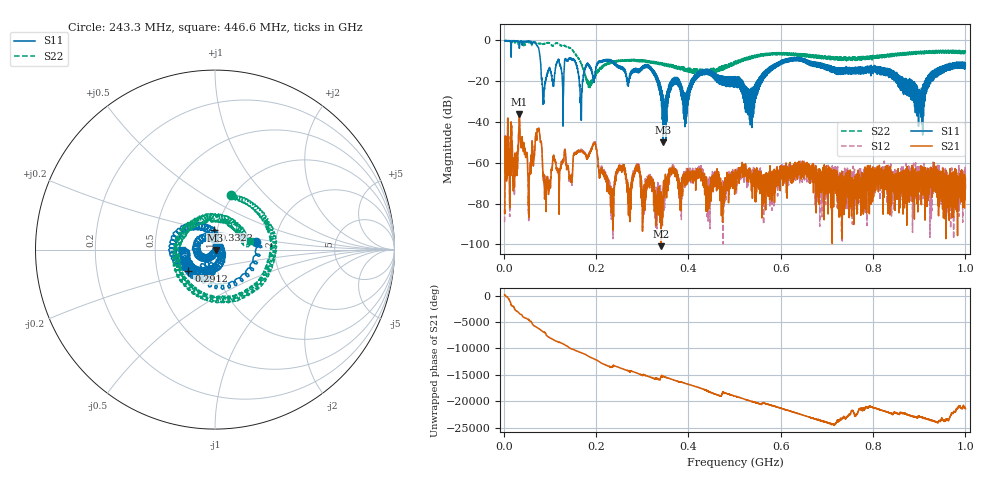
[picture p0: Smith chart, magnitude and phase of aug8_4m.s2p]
!Keysight Technologies N9923A: A.12.45
!Date: Friday, 08 August 2025 17:26:36
!Timezone: (UTC+08:00) Kuala Lumpur, Singapore
!Model: N9923A
!Serial: MY61181427
!GPS Latitude:
!GPS Longitude:
!GPS TimeStamp: 0001-01-01 00:00:00Z
!GPS Seconds Since Last Read: 0
!CHECKSUM:0273301789
!Correction: S11(ON U)S21(ON U)S12(ON U)S22(ON U)
!S2P File: Measurements:S11,S21,S12,S22:
# Hz S DB R 50
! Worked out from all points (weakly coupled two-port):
!   4001 points, 2 MHz to 1 GHz, reference 50 ohm
!   highest |S21| = -35.96 dB at 33.94 MHz (marker M1); lowest = -100.8 dB at 340.6 MHz (marker M2)
!   lowest |S11| = -49.9 dB at 345.3 MHz (marker M3), VSWR 1.01, Z = 50.3 - j0.147 ohm
!   |S11| at or under -10 dB: 153.9 MHz to 207.6 MHz (53.73 MHz wide, 29.7 % of centre); 234.5 MHz to 599.5 MHz (365.1 MHz wide, 87.5 % of centre); 662.2 MHz to end of sweep (the widest 3 of 55)
!   |S22| runs from -23.4 to 0.0 dB; largest |S21 - S12| = 0.0012
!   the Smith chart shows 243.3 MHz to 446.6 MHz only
!   S11 on the Smith chart (normalised r, x): 243.3 MHz: 1.59, +0.14; 291.2 MHz: 0.72, -0.18; 332.3 MHz: 0.96, +0.22; 446.6 MHz: 0.69, -0.00
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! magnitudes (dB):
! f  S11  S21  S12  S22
! 2 MHz  -0.1  -83.3  -89.1  0.0
! 33.94 MHz  -3.8  -36.0  -36.2  -1.0
! 55.64 MHz  -0.4  -65.5  -65.6  -1.4
! 76.85 MHz  -4.9  -43.9  -43.6  -1.5
! 93.57 MHz  -17.6  -70.5  -68.1  -1.3
! 148.5 MHz  -8.9  -65.6  -67.9  -4.7
! 168.4 MHz  -35.2  -54.2  -53.8  -11.5
! 197.6 MHz  -17.4  -50.5  -49.8  -16.3
! 233.8 MHz  -10.2  -75.8  -84.9  -11.1
! 243.3 MHz  -12.6  -66.7  -67.0  -10.0
! 291.2 MHz  -14.4  -60.6  -61.1  -10.3
! 332.3 MHz  -19.1  -79.1  -78.8  -10.5
! 334.8 MHz  -19.6  -73.3  -72.6  -11.7
! 340.6 MHz  -26.8  -100.8  -76.3  -10.9
! 345.3 MHz  -49.9  -79.2  -76.0  -11.5
! 367.5 MHz  -19.5  -64.0  -63.0  -12.0
! 446.6 MHz  -14.8  -76.5  -73.4  -14.0
! 501 MHz  -17.7  -67.6  -68.8  -11.8
! 667.4 MHz  -10.6  -68.0  -65.6  -7.4
! 833.8 MHz  -17.3  -71.6  -63.5  -7.2
! 902.7 MHz  -25.8  -69.9  -64.7  -6.3
! 1 GHz  -11.9  -72.8  -67.5  -5.9
